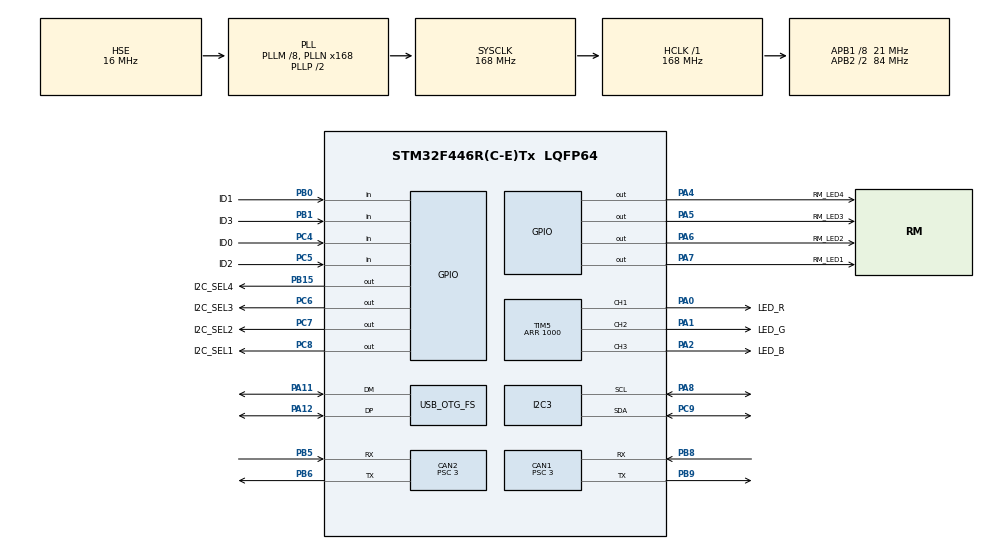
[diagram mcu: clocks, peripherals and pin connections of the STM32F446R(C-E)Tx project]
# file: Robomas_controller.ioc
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CAN1.BS1=CAN_BS1_4TQ
CAN1.BS2=CAN_BS2_2TQ
CAN1.CalculateBaudRate=1000000
CAN1.CalculateTimeBit=1000
CAN1.CalculateTimeQuantum=142.85714285714286
CAN1.Prescaler=3
CAN2.BS1=CAN_BS1_4TQ
CAN2.BS2=CAN_BS2_2TQ
CAN2.CalculateBaudRate=1000000
CAN2.CalculateTimeBit=1000
CAN2.CalculateTimeQuantum=142.85714285714286
CAN2.Prescaler=3
CAN2.TTCM=DISABLE
I2C3.I2C_Mode=I2C_Fast
Mcu.Family=STM32F4
Mcu.Name=STM32F446R(C-E)Tx
Mcu.Package=LQFP64
NVIC.CAN1_RX0_IRQn=true\:0\:0\:false\:false\:true\:true\:true\:true
NVIC.CAN1_TX_IRQn=true\:0\:0\:false\:false\:true\:true\:true\:true
NVIC.CAN2_RX1_IRQn=true\:0\:0\:false\:false\:true\:true\:true\:true
NVIC.CAN2_TX_IRQn=true\:0\:0\:false\:false\:true\:true\:true\:true
NVIC.I2C3_ER_IRQn=true\:0\:0\:false\:false\:true\:true\:true\:true
NVIC.I2C3_EV_IRQn=true\:0\:0\:false\:false\:true\:true\:true\:true
NVIC.OTG_FS_IRQn=true\:0\:0\:false\:false\:true\:false\:true\:true
NVIC.PriorityGroup=NVIC_PRIORITYGROUP_4
NVIC.TIM8_BRK_TIM12_IRQn=true\:0\:0\:false\:false\:true\:true\:true\:true
NVIC.TIM8_TRG_COM_TIM14_IRQn=true\:0\:0\:false\:false\:true\:true\:true\:true
NVIC.TIM8_UP_TIM13_IRQn=true\:0\:0\:false\:false\:true\:true\:true\:true
PA0-WKUP.GPIO_Label=LED_R
PA0-WKUP.Signal=S_TIM5_CH1
PA1.GPIO_Label=LED_G
PA1.Signal=S_TIM5_CH2
PA11.Mode=Device_Only
PA11.Signal=USB_OTG_FS_DM
PA12.Mode=Device_Only
PA12.Signal=USB_OTG_FS_DP
PA13.Signal=SYS_JTMS-SWDIO
PA14.Signal=SYS_JTCK-SWCLK
PA2.GPIO_Label=LED_B
PA2.Signal=S_TIM5_CH3
PA4.GPIO_Label=RM_LED4
PA4.Signal=GPIO_Output
PA5.GPIO_Label=RM_LED3
PA5.Signal=GPIO_Output
PA6.GPIO_Label=RM_LED2
PA6.Signal=GPIO_Output
PA7.GPIO_Label=RM_LED1
PA7.Signal=GPIO_Output
PA8.GPIO_Pu=GPIO_PULLUP
PA8.Mode=I2C
PA8.Signal=I2C3_SCL
PB0.GPIO_Label=ID1
PB0.GPIO_PuPd=GPIO_PULLUP
PB0.Signal=GPIO_Input
PB1.GPIO_Label=ID3
PB1.GPIO_PuPd=GPIO_PULLUP
PB1.Signal=GPIO_Input
PB15.GPIO_Label=I2C_SEL4
PB15.Signal=GPIO_Output
PB5.Mode=CAN_Activate
PB5.Signal=CAN2_RX
PB6.Mode=CAN_Activate
PB6.Signal=CAN2_TX
PB8.Mode=CAN_Activate
PB8.Signal=CAN1_RX
PB9.Mode=CAN_Activate
PB9.Signal=CAN1_TX
PC4.GPIO_Label=ID0
PC4.GPIO_PuPd=GPIO_PULLUP
PC4.Signal=GPIO_Input
PC5.GPIO_Label=ID2
PC5.GPIO_PuPd=GPIO_PULLUP
PC5.Signal=GPIO_Input
PC6.GPIO_Label=I2C_SEL3
PC6.Signal=GPIO_Output
PC7.GPIO_Label=I2C_SEL2
PC7.Signal=GPIO_Output
PC8.GPIO_Label=I2C_SEL1
PC8.Signal=GPIO_Output
PC9.GPIO_Pu=GPIO_PULLUP
PC9.Mode=I2C
PC9.Signal=I2C3_SDA
PH0-OSC_IN.Mode=HSE-External-Oscillator
PH0-OSC_IN.Signal=RCC_OSC_IN
PH1-OSC_OUT.Mode=HSE-External-Oscillator
PH1-OSC_OUT.Signal=RCC_OSC_OUT
ProjectManager.HeapSize=0x200
ProjectManager.StackSize=0x400
ProjectManager.TargetToolchain=STM32CubeIDE
RCC.AHBFreq_Value=168000000
RCC.APB1CLKDivider=RCC_HCLK_DIV8
RCC.APB1Freq_Value=21000000
RCC.APB1TimFreq_Value=42000000
RCC.APB2CLKDivider=RCC_HCLK_DIV2
RCC.APB2Freq_Value=84000000
RCC.APB2TimFreq_Value=168000000
RCC.CortexFreq_Value=168000000
RCC.HCLKFreq_Value=168000000
RCC.HSE_VALUE=16000000
RCC.PLLM=8
RCC.PLLN=168
RCC.PLLQ=7
RCC.PLLSourceVirtual=RCC_PLLSOURCE_HSE
RCC.SYSCLKFreq_VALUE=168000000
RCC.SYSCLKSource=RCC_SYSCLKSOURCE_PLLCLK
RCC.USBFreq_Value=48000000
RCC.VCOOutputFreq_Value=336000000
SH.S_TIM5_CH1.0=TIM5_CH1,PWM Generation1 CH1
SH.S_TIM5_CH2.0=TIM5_CH2,PWM Generation2 CH2
SH.S_TIM5_CH3.0=TIM5_CH3,PWM Generation3 CH3
TIM12.ClockDivision=TIM_CLOCKDIVISION_DIV1
TIM12.Period=2000
TIM12.Prescaler=42000-1
TIM13.ClockDivision=TIM_CLOCKDIVISION_DIV1
TIM13.Period=1000
TIM13.Prescaler=42000-1
TIM14.ClockDivision=TIM_CLOCKDIVISION_DIV1
TIM14.Period=1000-1
TIM14.Prescaler=42-1
TIM5.Channel-PWM\ Generation1\ CH1=TIM_CHANNEL_1
TIM5.Channel-PWM\ Generation2\ CH2=TIM_CHANNEL_2
TIM5.Channel-PWM\ Generation3\ CH3=TIM_CHANNEL_3
TIM5.OCPolarity_1=TIM_OCPOLARITY_LOW
TIM5.OCPolarity_2=TIM_OCPOLARITY_LOW
TIM5.OCPolarity_3=TIM_OCPOLARITY_LOW
TIM5.Period=1000
USB_DEVICE.CLASS_NAME_FS=CDC
USB_DEVICE.VirtualMode-CDC_FS=Cdc
USB_DEVICE.VirtualModeFS=Cdc_FS
USB_OTG_FS.VirtualMode=Device_Only
VP_TIM12_VS_ClockSourceINT.Mode=Internal
VP_TIM13_VS_ClockSourceINT.Mode=Enable_Timer
VP_TIM14_VS_ClockSourceINT.Mode=Enable_Timer
VP_USB_DEVICE_VS_USB_DEVICE_CDC_FS.Mode=CDC_FS
board=custom

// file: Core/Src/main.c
/* USER CODE BEGIN Header */
/**
  ******************************************************************************
  * @file           : main.c
  * @brief          : Main program body
  ******************************************************************************
  * @attention
  *
  * <h2><center>&copy; Copyright (c) 2023 STMicroelectronics.
  * All rights reserved.</center></h2>
  *
  * This software component is licensed by ST under BSD 3-Clause license,
  * the "License"; You may not use this file except in compliance with the
  * License. You may obtain a copy of the License at:
  *                        opensource.org/licenses/BSD-3-Clause
  *
  ******************************************************************************
  */
/* USER CODE END Header */
#include "main.h"
#include "can.h"
#include "i2c.h"
#include "tim.h"
#include "usb_device.h"
#include "gpio.h"

/* USER CODE BEGIN Includes */
#include "../../UserLib/board_task.hpp"

using namespace G24_STM32HAL;
/* USER CODE END Includes */

void SystemClock_Config(void);

/* USER CODE BEGIN 0 */

void HAL_CAN_TxMailbox0CompleteCallback(CAN_HandleTypeDef *hcan){
	RmcBoard::LED_B.out_as_gpio(true);
	if(hcan == RmcBoard::can_main.get_can_handle()){
		RmcBoard::can_main.tx_interrupt_task();
	}else if(hcan == RmcBoard::can_c6x0.get_can_handle()){
		RmcBoard::can_c6x0.tx_interrupt_task();
	}
}
void HAL_CAN_TxMailbox1CompleteCallback(CAN_HandleTypeDef *hcan){
	RmcBoard::LED_B.out_as_gpio(true);
	if(hcan == RmcBoard::can_main.get_can_handle()){
		RmcBoard::can_main.tx_interrupt_task();
	}else if(hcan == RmcBoard::can_c6x0.get_can_handle()){
		RmcBoard::can_c6x0.tx_interrupt_task();
	}
}
void HAL_CAN_TxMailbox2CompleteCallback(CAN_HandleTypeDef *hcan){
	RmcBoard::LED_B.out_as_gpio(true);
	if(hcan == RmcBoard::can_main.get_can_handle()){
		RmcBoard::can_main.tx_interrupt_task();
	}else if(hcan == RmcBoard::can_c6x0.get_can_handle()){
		RmcBoard::can_c6x0.tx_interrupt_task();
	}
}

void HAL_CAN_RxFifo0MsgPendingCallback(CAN_HandleTypeDef *hcan){
	RmcBoard::LED_B.out_as_gpio(true);
	RmcBoard::can_c6x0.rx_interrupt_task();
	RmcBoard::motor_data_process();
}
void HAL_CAN_RxFifo1MsgPendingCallback(CAN_HandleTypeDef *hcan){
	RmcBoard::LED_B.out_as_gpio(true);
	RmcBoard::can_main.rx_interrupt_task();
	__HAL_TIM_SET_COUNTER(&htim12,0);
}

void usb_cdc_rx_callback(const uint8_t *input,size_t size){
	RmcBoard::LED_B.out_as_gpio(true);
	RmcBoard::usb_cdc.rx_interrupt_task(input, size);
	__HAL_TIM_SET_COUNTER(&htim12,0);
}

void HAL_TIM_PeriodElapsedCallback(TIM_HandleTypeDef *htim)
{
    if (htim == RmcBoard::motor_control_timer){
    	RmcBoard::LED_G.out_as_gpio(true);
    	RmcBoard::usb_cdc.tx_interrupt_task();
    	RmcBoard::send_motor_parameters();

    }else if(htim == RmcBoard::monitor_timer){
    	RmcBoard::LED_R.out_as_gpio(true);
    	RmcBoard::monitor_task();

    }else if(htim == RmcBoard::can_timeout_timer){
    	RmcBoard::LED_R.out_as_gpio(true);
    	for(int i = 0; i<5000;i++){

    	}
    }
}

/* USER CODE END 0 */

int main(void)
{

  /* MCU Configuration--------------------------------------------------------*/

  /* Reset of all peripherals, Initializes the Flash interface and the Systick. */
  HAL_Init();

  /* Configure the system clock */
  SystemClock_Config();

  /* Initialize all configured peripherals */
  MX_GPIO_Init();
  MX_USB_DEVICE_Init();
  MX_CAN1_Init();
  MX_CAN2_Init();
  MX_I2C3_Init();
  MX_TIM5_Init();
  MX_TIM14_Init();
  MX_TIM13_Init();
  MX_TIM12_Init();
  /* USER CODE BEGIN 2 */
  RmcBoard::init();

  HAL_TIM_Base_Start_IT(RmcBoard::motor_control_timer);
  //HAL_TIM_Base_Start_IT(RmcBoard::monitor_timer);
  HAL_TIM_Base_Start_IT(RmcBoard::can_timeout_timer);
  __HAL_TIM_SET_AUTORELOAD(RmcBoard::monitor_timer, 700);
  __HAL_TIM_SET_AUTORELOAD(RmcBoard::can_timeout_timer, 2000);

  /* USER CODE END 2 */

  /* Infinite loop */
  while (1)
  {

    /* USER CODE BEGIN 3 */
	  RmcBoard::main_comm_prossess();

	  RmcBoard::LED_R.out_as_gpio(false);
	  RmcBoard::LED_G.out_as_gpio(false);
	  RmcBoard::LED_B.out_as_gpio(false);

//	  G24_STM32HAL::CommonLib::DataPacket data;
//	  data.board_ID = read_board_id();
//	  data.is_request = false;
//	  data.data_type = G24_STM32HAL::CommonLib::DataType::RMC_DATA;
//	  data.register_ID = 0x11;
//	  auto writer = data.writer();
//	  writer.write<float>(0.01f);
//	  execute_rmc_command(data);
//	  HAL_Delay(100);

	  //motor_test();
  }
  /* USER CODE END 3 */
}

void SystemClock_Config(void)
{
  RCC_OscInitTypeDef RCC_OscInitStruct = {0};
  RCC_ClkInitTypeDef RCC_ClkInitStruct = {0};

  /** Configure the main internal regulator output voltage
  */
  __HAL_RCC_PWR_CLK_ENABLE();
  __HAL_PWR_VOLTAGESCALING_CONFIG(PWR_REGULATOR_VOLTAGE_SCALE1);

  /** Initializes the RCC Oscillators according to the specified parameters
  * in the RCC_OscInitTypeDef structure.
  */
  RCC_OscInitStruct.OscillatorType = RCC_OSCILLATORTYPE_HSE;
  RCC_OscInitStruct.HSEState = RCC_HSE_ON;
  RCC_OscInitStruct.PLL.PLLState = RCC_PLL_ON;
  RCC_OscInitStruct.PLL.PLLSource = RCC_PLLSOURCE_HSE;
  RCC_OscInitStruct.PLL.PLLM = 8;
  RCC_OscInitStruct.PLL.PLLN = 168;
  RCC_OscInitStruct.PLL.PLLP = RCC_PLLP_DIV2;
  RCC_OscInitStruct.PLL.PLLQ = 7;
  RCC_OscInitStruct.PLL.PLLR = 2;
  if (HAL_RCC_OscConfig(&RCC_OscInitStruct) != HAL_OK)
  {
    Error_Handler();
  }

  /** Initializes the CPU, AHB and APB buses clocks
  */
  RCC_ClkInitStruct.ClockType = RCC_CLOCKTYPE_HCLK|RCC_CLOCKTYPE_SYSCLK
                              |RCC_CLOCKTYPE_PCLK1|RCC_CLOCKTYPE_PCLK2;
  RCC_ClkInitStruct.SYSCLKSource = RCC_SYSCLKSOURCE_PLLCLK;
  RCC_ClkInitStruct.AHBCLKDivider = RCC_SYSCLK_DIV1;
  RCC_ClkInitStruct.APB1CLKDivider = RCC_HCLK_DIV8;
  RCC_ClkInitStruct.APB2CLKDivider = RCC_HCLK_DIV2;

  if (HAL_RCC_ClockConfig(&RCC_ClkInitStruct, FLASH_LATENCY_5) != HAL_OK)
  {
    Error_Handler();
  }
}

void Error_Handler(void)
{
  __disable_irq();
  while (1)
  {
  }
}
